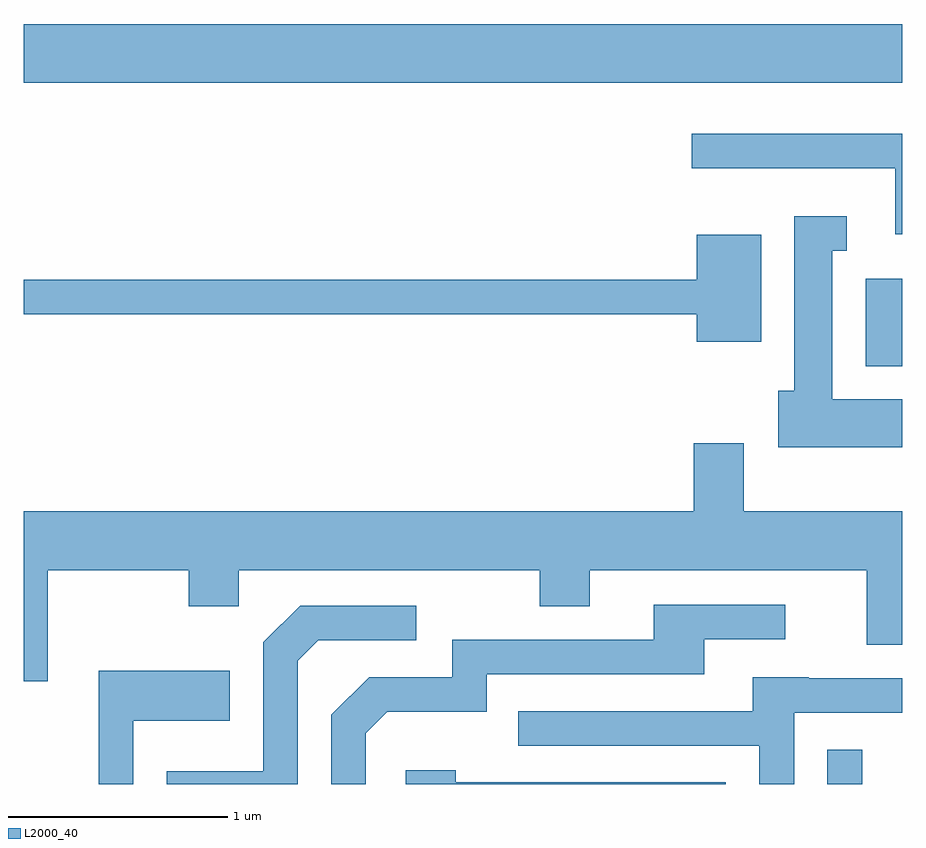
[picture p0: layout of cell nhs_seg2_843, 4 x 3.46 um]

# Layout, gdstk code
import gdstk
lib = gdstk.Library(unit=1e-6, precision=1e-09)
def R(c, l, rs):  # rectangles x0, y0, x1, y1
    for r in rs: c.add(gdstk.rectangle(r[:2], r[2:], *l))
def P(c, l, *ps):  # polygons
    for p in ps: c.add(gdstk.Polygon(p, *l))
L2000_40 = (2000, 40)

nhs_seg2_843 = lib.new_cell('nhs_seg2_843')
R(nhs_seg2_843, L2000_40, [(213.271,1031.802,213.429,1031.958), (213.446,1033.706,213.611,1034.104), (209.611,1034.996,213.611,1035.264)])
P(nhs_seg2_843, L2000_40, [(213.611,1034.764),(212.653,1034.764),(212.653,1034.606),(213.581,1034.606),(213.581,1034.306),(213.611,1034.306)],
  [(213.611,1033.554),(213.294,1033.554),(213.294,1034.231),(213.358,1034.231),(213.358,1034.389),(213.121,1034.389),(213.121,1033.594),(213.046,1033.594),(213.046,1033.336),(213.611,1033.336)],
  [(212.969,1034.304),(212.676,1034.304),(212.676,1034.099),(209.611,1034.099),(209.611,1033.941),(212.676,1033.941),(212.676,1033.816),(212.969,1033.816)],
  [(209.719,1032.776),(210.361,1032.776),(210.361,1032.611),(210.589,1032.611),(210.589,1032.776),(211.961,1032.776),(211.961,1032.611),(212.189,1032.611),(212.189,1032.776),(213.451,1032.776),(213.451,1032.436),(213.611,1032.436),(213.611,1033.044),(212.889,1033.044),(212.889,1033.354),(212.661,1033.354),(212.661,1033.044),(209.611,1033.044),(209.611,1032.271),(209.719,1032.271)],
  [(211.169,1032.034),(211.267,1032.131),(211.719,1032.131),(211.719,1032.301),(212.709,1032.301),(212.709,1032.461),(213.078,1032.461),(213.078,1032.619),(212.481,1032.619),(212.481,1032.459),(211.561,1032.459),(211.561,1032.289),(211.184,1032.289),(211.011,1032.117),(211.011,1031.802),(211.169,1031.802)],
  [(210.859,1032.363),(210.952,1032.456),(211.398,1032.456),(211.398,1032.614),(210.869,1032.614),(210.701,1032.447),(210.701,1031.859),(210.261,1031.859),(210.261,1031.802),(210.859,1031.802)],
  [(210.109,1032.091),(210.549,1032.091),(210.549,1032.319),(209.951,1032.319),(209.951,1031.802),(210.109,1031.802)],
  [(213.119,1032.126),(213.611,1032.126),(213.611,1032.284),(213.185,1032.284),(213.185,1032.289),(212.931,1032.289),(212.931,1032.134),(211.863,1032.134),(211.863,1031.976),(212.961,1031.976),(212.961,1031.802),(213.119,1031.802)],
  [(212.809,1031.809),(211.579,1031.809),(211.579,1031.864),(211.351,1031.864),(211.351,1031.802),(212.809,1031.802)])

lib.write_gds('nhs_seg2_843.gds')
